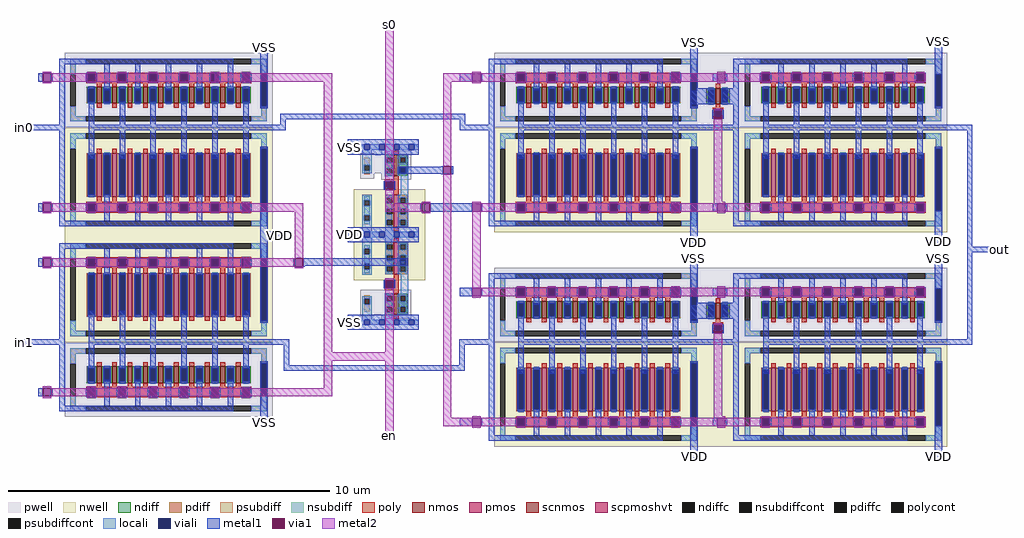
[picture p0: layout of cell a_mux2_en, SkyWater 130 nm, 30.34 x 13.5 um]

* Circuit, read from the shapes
.subckt a_mux2_en en s0 in0 in1 out VDD VSS
XM1 in1 en switch_5t_0/in VSS sky130_fd_pr__nfet_01v8 w=0.52 l=0.15 m=10
XM2 in0 en switch_5t_1/in VSS sky130_fd_pr__nfet_01v8 w=0.52 l=0.15 m=10
XM3 sky130_fd_sc_hd__inv_1_0/Y en VSS VSS sky130_fd_pr__nfet_01v8 w=0.65 l=0.15
XM4 sky130_fd_sc_hd__inv_1_1/Y s0 VSS VSS sky130_fd_pr__nfet_01v8 w=0.65 l=0.15
XM5 switch_5t_0/in s0 switch_5t_0/transmission_gate_1/in VSS sky130_fd_pr__nfet_01v8 w=0.52 l=0.15 m=10
XM6 switch_5t_1/in sky130_fd_sc_hd__inv_1_1/Y switch_5t_1/transmission_gate_1/in VSS sky130_fd_pr__nfet_01v8 w=0.52 l=0.15 m=10
XM7 switch_5t_0/transmission_gate_1/in sky130_fd_sc_hd__inv_1_1/Y VSS VSS sky130_fd_pr__nfet_01v8 w=0.5 l=0.15
XM8 switch_5t_1/transmission_gate_1/in s0 VSS VSS sky130_fd_pr__nfet_01v8 w=0.5 l=0.15
XM9 switch_5t_0/transmission_gate_1/in s0 out VSS sky130_fd_pr__nfet_01v8 w=0.52 l=0.15 m=10
XM10 switch_5t_1/transmission_gate_1/in sky130_fd_sc_hd__inv_1_1/Y out VSS sky130_fd_pr__nfet_01v8 w=0.52 l=0.15 m=10
XM11 in1 sky130_fd_sc_hd__inv_1_0/Y switch_5t_0/in VDD sky130_fd_pr__pfet_01v8 w=1.36 l=0.15 m=10
XM12 in0 sky130_fd_sc_hd__inv_1_0/Y switch_5t_1/in VDD sky130_fd_pr__pfet_01v8 w=1.36 l=0.15 m=10
XM13 sky130_fd_sc_hd__inv_1_0/Y en VDD VDD sky130_fd_pr__pfet_01v8_hvt w=1 l=0.15
XM14 sky130_fd_sc_hd__inv_1_1/Y s0 VDD VDD sky130_fd_pr__pfet_01v8_hvt w=1 l=0.15
XM15 switch_5t_0/in sky130_fd_sc_hd__inv_1_1/Y switch_5t_0/transmission_gate_1/in VDD sky130_fd_pr__pfet_01v8 w=1.36 l=0.15 m=10
XM16 switch_5t_1/in s0 switch_5t_1/transmission_gate_1/in VDD sky130_fd_pr__pfet_01v8 w=1.36 l=0.15 m=10
XM17 switch_5t_0/transmission_gate_1/in sky130_fd_sc_hd__inv_1_1/Y out VDD sky130_fd_pr__pfet_01v8 w=1.36 l=0.15 m=10
XM18 switch_5t_1/transmission_gate_1/in s0 out VDD sky130_fd_pr__pfet_01v8 w=1.36 l=0.15 m=10
.ends

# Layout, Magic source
magic
tech sky130A
magscale 1 2
<< nwell >>
rect -2386 -1234 -1092 -1157
<< pwell >>
rect -548 -815 -409 -700
rect -548 -1692 -405 -1537
<< viali >>
rect -298 -812 -264 -778
rect -381 -907 -347 -873
rect -299 -1382 -265 -1348
rect -382 -1520 -348 -1486
<< metal1 >>
rect -1168 -112 -1122 -24
rect 1503 -72 1549 8
rect 3024 -73 3070 15
rect -1046 -479 104 -445
rect -1046 -513 -1012 -479
rect -2638 -547 -2476 -513
rect -1079 -547 -1012 -513
rect 70 -547 104 -479
rect 185 -547 234 -513
rect 3140 -547 3258 -513
rect -624 -700 -522 -604
rect -43 -772 -33 -769
rect -310 -778 -33 -772
rect -310 -812 -298 -778
rect -264 -812 -33 -778
rect -310 -818 -33 -812
rect -43 -821 -33 -818
rect 19 -821 29 -769
rect -401 -917 -391 -865
rect -339 -917 -329 -865
rect -176 -1052 -166 -1000
rect -114 -1052 137 -1000
rect -1168 -1174 -1122 -1134
rect -1168 -1220 -1045 -1174
rect -1168 -1253 -1122 -1220
rect -624 -1244 -541 -1148
rect 1503 -1248 1549 -1178
rect 3024 -1246 3070 -1175
rect 3224 -1270 3258 -547
rect 3224 -1304 3429 -1270
rect -965 -1394 -955 -1342
rect -903 -1348 -253 -1342
rect -903 -1382 -299 -1348
rect -265 -1382 -253 -1348
rect -903 -1388 -253 -1382
rect -903 -1394 -893 -1388
rect 1503 -1406 1549 -1334
rect 3024 -1407 3070 -1336
rect -401 -1530 -391 -1478
rect -339 -1530 -329 -1478
rect -624 -1788 -541 -1692
rect 3224 -1847 3258 -1304
rect -2638 -1881 -2460 -1847
rect -1084 -1881 -989 -1847
rect -1023 -2007 -989 -1881
rect 69 -2007 103 -1847
rect 3149 -1881 3258 -1847
rect -1023 -2041 103 -2007
rect -1168 -2371 -1122 -2282
rect 1503 -2585 1549 -2512
rect 3024 -2580 3070 -2509
<< via1 >>
rect -33 -821 19 -769
rect -391 -873 -339 -865
rect -391 -907 -381 -873
rect -381 -907 -347 -873
rect -347 -907 -339 -873
rect -391 -917 -339 -907
rect -166 -1052 -114 -1000
rect -955 -1394 -903 -1342
rect -391 -1486 -339 -1478
rect -391 -1520 -382 -1486
rect -382 -1520 -348 -1486
rect -348 -1520 -339 -1486
rect -391 -1530 -339 -1520
<< metal2 >>
rect -1452 -244 -723 -192
rect -1312 -1052 -903 -1000
rect -955 -1342 -903 -1052
rect -1271 -1394 -955 -1342
rect -955 -1404 -903 -1394
rect -775 -1927 -723 -244
rect -391 -865 -339 115
rect -391 -1000 -339 -917
rect -33 -245 261 -193
rect -33 -769 19 -245
rect -166 -1000 -114 -990
rect -391 -1052 -166 -1000
rect -166 -1062 -114 -1052
rect -391 -1478 -339 -1468
rect -391 -1927 -339 -1530
rect -775 -1979 -339 -1927
rect -775 -2149 -723 -1979
rect -2456 -2201 -723 -2149
rect -391 -2457 -339 -1979
rect -33 -2334 19 -821
rect 149 -1052 259 -1000
rect 149 -1589 201 -1052
rect -33 -2386 206 -2334
use sky130_fd_sc_hd__inv_1  sky130_fd_sc_hd__inv_1_0 $PDKPATH/libs.ref/sky130_fd_sc_hd/mag
transform 1 0 -459 0 1 -1740
box -38 -48 314 592
use sky130_fd_sc_hd__inv_1  sky130_fd_sc_hd__inv_1_1
transform 1 0 -459 0 -1 -652
box -38 -48 314 592
use sky130_fd_sc_hd__tapvpwrvgnd_1  sky130_fd_sc_hd__tapvpwrvgnd_1_0 $PDKPATH/libs.ref/sky130_fd_sc_hd/mag
transform 1 0 -551 0 1 -1740
box -38 -48 130 592
use sky130_fd_sc_hd__tapvpwrvgnd_1  sky130_fd_sc_hd__tapvpwrvgnd_1_1
transform -1 0 -459 0 -1 -652
box -38 -48 130 592
use switch_5t  switch_5t_0
transform 1 0 123 0 -1 -1396
box -53 -36 3056 1162
use switch_5t  switch_5t_1
transform 1 0 123 0 -1 -62
box -53 -36 3056 1162
use transmission_gate  transmission_gate_0 ~/ee372/incremental_delta_sigma_adc/design/analog_modulator/layout/transmission_gate
transform 1 0 -2333 0 -1 -117
box -216 -51 1283 1063
use transmission_gate  transmission_gate_1
transform 1 0 -2333 0 1 -2277
box -216 -51 1283 1063
<< labels >>
flabel metal1 -2635 -530 -2635 -530 3 FreeSans 400 0 0 0 in0
port 3 e
flabel metal1 -2634 -1864 -2634 -1864 3 FreeSans 400 0 0 0 in1
port 4 e
flabel metal1 -1144 -2365 -1144 -2365 1 FreeSans 400 0 0 0 VSS
port 7 n power bidirectional
flabel metal1 -1051 -1198 -1051 -1198 1 FreeSans 400 0 0 0 VDD
port 6 n power bidirectional
flabel metal1 -1145 -35 -1145 -35 1 FreeSans 400 0 0 0 VSS
port 7 n power bidirectional
flabel metal2 -366 110 -366 110 5 FreeSans 400 0 0 0 s0
port 2 s
flabel metal2 -365 -2445 -365 -2445 1 FreeSans 400 0 0 0 en
port 1 n
flabel metal1 -615 -1743 -615 -1743 1 FreeSans 400 0 0 0 VSS
port 7 n power bidirectional
flabel metal1 -617 -1196 -617 -1196 1 FreeSans 400 0 0 0 VDD
port 6 n power bidirectional
flabel metal1 -616 -652 -616 -652 1 FreeSans 400 0 0 0 VSS
port 7 n power bidirectional
flabel metal1 1526 -1 1526 -1 1 FreeSans 400 0 0 0 VSS
port 7 n power bidirectional
flabel metal1 3048 4 3048 4 1 FreeSans 400 0 0 0 VSS
port 7 n power bidirectional
flabel metal1 1526 -1242 1526 -1242 1 FreeSans 400 0 0 0 VDD
port 6 n power bidirectional
flabel metal1 3048 -1239 3048 -1239 1 FreeSans 400 0 0 0 VDD
port 6 n power bidirectional
flabel metal1 3047 -1344 3047 -1344 1 FreeSans 400 0 0 0 VSS
port 7 n power bidirectional
flabel metal1 1526 -1342 1526 -1342 1 FreeSans 400 0 0 0 VSS
port 7 n power bidirectional
flabel metal1 1527 -2577 1527 -2577 1 FreeSans 400 0 0 0 VDD
port 6 n power bidirectional
flabel metal1 3048 -2574 3048 -2574 1 FreeSans 400 0 0 0 VDD
port 6 n power bidirectional
flabel metal1 3423 -1288 3423 -1288 1 FreeSans 400 0 0 0 out
port 5 n
<< end >>

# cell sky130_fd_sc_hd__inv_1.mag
magic
tech sky130A
magscale 1 2
<< nwell >>
rect -38 261 314 582
<< pwell >>
rect 42 21 228 203
rect 42 17 63 21
rect 29 -17 63 17
<< scnmos >>
rect 120 47 150 177
<< scpmoshvt >>
rect 120 297 150 497
<< ndiff >>
rect 68 165 120 177
rect 68 131 76 165
rect 110 131 120 165
rect 68 97 120 131
rect 68 63 76 97
rect 110 63 120 97
rect 68 47 120 63
rect 150 165 202 177
rect 150 131 160 165
rect 194 131 202 165
rect 150 97 202 131
rect 150 63 160 97
rect 194 63 202 97
rect 150 47 202 63
<< pdiff >>
rect 68 485 120 497
rect 68 451 76 485
rect 110 451 120 485
rect 68 417 120 451
rect 68 383 76 417
rect 110 383 120 417
rect 68 349 120 383
rect 68 315 76 349
rect 110 315 120 349
rect 68 297 120 315
rect 150 485 202 497
rect 150 451 160 485
rect 194 451 202 485
rect 150 417 202 451
rect 150 383 160 417
rect 194 383 202 417
rect 150 349 202 383
rect 150 315 160 349
rect 194 315 202 349
rect 150 297 202 315
<< ndiffc >>
rect 76 131 110 165
rect 76 63 110 97
rect 160 131 194 165
rect 160 63 194 97
<< pdiffc >>
rect 76 451 110 485
rect 76 383 110 417
rect 76 315 110 349
rect 160 451 194 485
rect 160 383 194 417
rect 160 315 194 349
<< poly >>
rect 120 497 150 523
rect 120 265 150 297
rect 64 249 150 265
rect 64 215 80 249
rect 114 215 150 249
rect 64 199 150 215
rect 120 177 150 199
rect 120 21 150 47
<< polycont >>
rect 80 215 114 249
<< locali >>
rect 0 527 29 561
rect 63 527 121 561
rect 155 527 213 561
rect 247 527 276 561
rect 68 485 110 527
rect 68 451 76 485
rect 68 417 110 451
rect 68 383 76 417
rect 68 349 110 383
rect 68 315 76 349
rect 68 299 110 315
rect 144 485 210 493
rect 144 451 160 485
rect 194 451 210 485
rect 144 417 210 451
rect 144 383 160 417
rect 194 383 210 417
rect 144 349 210 383
rect 144 315 160 349
rect 194 315 210 349
rect 144 297 210 315
rect 64 249 130 263
rect 64 215 80 249
rect 114 215 130 249
rect 64 165 110 181
rect 164 177 210 297
rect 64 131 76 165
rect 64 97 110 131
rect 64 63 76 97
rect 64 17 110 63
rect 144 165 210 177
rect 144 131 160 165
rect 194 131 210 165
rect 144 97 210 131
rect 144 63 160 97
rect 194 63 210 97
rect 144 51 210 63
rect 0 -17 29 17
rect 63 -17 121 17
rect 155 -17 213 17
rect 247 -17 276 17
<< viali >>
rect 29 527 63 561
rect 121 527 155 561
rect 213 527 247 561
rect 29 -17 63 17
rect 121 -17 155 17
rect 213 -17 247 17
<< metal1 >>
rect 0 561 276 592
rect 0 527 29 561
rect 63 527 121 561
rect 155 527 213 561
rect 247 527 276 561
rect 0 496 276 527
rect 0 17 276 48
rect 0 -17 29 17
rect 63 -17 121 17
rect 155 -17 213 17
rect 247 -17 276 17
rect 0 -48 276 -17
<< labels >>
flabel locali s 164 289 198 323 0 FreeSans 340 0 0 0 Y
port 6 nsew signal output
flabel locali s 164 221 198 255 0 FreeSans 340 0 0 0 Y
port 6 nsew signal output
flabel locali s 72 221 106 255 0 FreeSans 340 0 0 0 A
port 1 nsew signal input
flabel nwell s 29 527 63 561 0 FreeSans 200 0 0 0 VPB
port 4 nsew power bidirectional
flabel pwell s 29 -17 63 17 0 FreeSans 200 0 0 0 VNB
port 3 nsew ground bidirectional
flabel metal1 s 29 -17 63 17 0 FreeSans 200 0 0 0 VGND
port 2 nsew ground bidirectional abutment
flabel metal1 s 29 527 63 561 0 FreeSans 200 0 0 0 VPWR
port 5 nsew power bidirectional abutment
rlabel comment s 0 0 0 0 4 inv_1
rlabel metal1 s 0 -48 276 48 1 VGND
port 2 nsew ground bidirectional abutment
rlabel metal1 s 0 496 276 592 1 VPWR
port 5 nsew power bidirectional abutment
<< properties >>
string FIXED_BBOX 0 0 276 544
string GDS_END 2228044
string GDS_FILE $PDKPATH/libs.ref/sky130_fd_sc_hd/gds/sky130_fd_sc_hd.gds
string GDS_START 2224550
string LEFclass CORE
string LEFsite unithd
string LEFsymmetry X Y R90
string path 0.000 0.000 6.900 0.000 
<< end >>

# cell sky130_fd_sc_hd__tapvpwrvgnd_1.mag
magic
tech sky130A
magscale 1 2
<< nwell >>
rect -38 261 130 582
<< pwell >>
rect 3 38 89 195
<< psubdiff >>
rect 29 145 63 169
rect 29 64 63 111
<< nsubdiff >>
rect 29 456 63 480
rect 29 363 63 422
rect 29 305 63 329
<< psubdiffcont >>
rect 29 111 63 145
<< nsubdiffcont >>
rect 29 422 63 456
rect 29 329 63 363
<< locali >>
rect 0 527 29 561
rect 63 527 92 561
rect 17 456 75 527
rect 17 422 29 456
rect 63 422 75 456
rect 17 363 75 422
rect 17 329 29 363
rect 63 329 75 363
rect 17 294 75 329
rect 17 145 75 162
rect 17 111 29 145
rect 63 111 75 145
rect 17 17 75 111
rect 0 -17 29 17
rect 63 -17 92 17
<< viali >>
rect 29 527 63 561
rect 29 -17 63 17
<< metal1 >>
rect 0 561 92 592
rect 0 527 29 561
rect 63 527 92 561
rect 0 496 92 527
rect 0 17 92 48
rect 0 -17 29 17
rect 63 -17 92 17
rect 0 -48 92 -17
<< labels >>
flabel metal1 s 22 524 75 553 0 FreeSans 200 0 0 0 VPWR
port 2 nsew power bidirectional abutment
flabel metal1 s 21 -18 72 20 0 FreeSans 200 0 0 0 VGND
port 1 nsew ground bidirectional abutment
rlabel comment s 0 0 0 0 4 tapvpwrvgnd_1
rlabel metal1 s 0 -48 92 48 1 VGND
port 1 nsew ground bidirectional abutment
rlabel metal1 s 0 496 92 592 1 VPWR
port 2 nsew power bidirectional abutment
<< properties >>
string FIXED_BBOX 0 0 92 544
string GDS_END 507276
string GDS_FILE $PDKPATH/libs.ref/sky130_fd_sc_hd/gds/sky130_fd_sc_hd.gds
string GDS_START 505656
string LEFclass CORE WELLTAP
string LEFsite unithd
string LEFsymmetry X Y R90
string MASKHINTS_PSDM 0 38 92 195
string MASKHINTS_NSDM 0 279 92 506
<< end >>

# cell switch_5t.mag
magic
tech sky130A
magscale 1 2
<< nwell >>
rect 1427 468 1802 1118
<< pwell >>
rect 1430 323 1686 468
rect 1380 239 1686 323
rect 1430 4 1686 239
<< metal1 >>
rect 1380 1072 1426 1162
rect 2901 1072 2947 1159
rect -53 938 -1 990
rect -53 451 93 485
rect 1456 451 1652 485
rect 2985 451 3056 485
rect 1517 361 1527 413
rect 1579 361 1589 413
rect 1380 239 1526 323
rect 1580 239 1683 323
rect 1421 223 1526 239
rect 1603 223 1665 239
rect -53 131 -1 183
rect 1380 -36 1426 50
rect 2901 -35 2947 101
<< via1 >>
rect 1527 361 1579 413
<< metal2 >>
rect 1262 938 1726 990
rect 1527 413 1579 938
rect 1527 351 1579 361
rect 1263 131 1663 183
use sky130_fd_pr__nfet_01v8_E56BNL  sky130_fd_pr__nfet_01v8_E56BNL_0
transform 1 0 1553 0 1 312
box -73 -116 73 98
use transmission_gate  transmission_gate_0 ~/ee372/incremental_delta_sigma_adc/design/analog_modulator/layout/transmission_gate
transform 1 0 215 0 1 55
box -216 -51 1283 1063
use transmission_gate  transmission_gate_1
transform 1 0 1736 0 1 55
box -216 -51 1283 1063
<< labels >>
flabel metal1 1403 1153 1403 1153 1 FreeSans 400 0 0 0 VDD
flabel metal1 1403 -29 1403 -29 1 FreeSans 400 0 0 0 VSS
flabel metal1 -43 963 -43 963 1 FreeSans 400 0 0 0 en_b
flabel metal1 -45 157 -45 157 1 FreeSans 400 0 0 0 en
flabel metal1 -44 468 -44 468 1 FreeSans 400 0 0 0 in
flabel metal1 3051 467 3051 467 7 FreeSans 400 0 0 0 out
flabel metal1 2924 1154 2924 1154 1 FreeSans 400 0 0 0 VDD
flabel metal1 2924 -28 2924 -28 1 FreeSans 400 0 0 0 VSS
<< end >>

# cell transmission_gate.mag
magic
tech sky130A
magscale 1 2
<< viali >>
rect 1171 545 1205 931
rect 1171 81 1205 281
<< metal1 >>
rect -87 993 995 1027
rect -216 883 -189 935
rect -137 883 -127 935
rect -87 430 -53 993
rect 78 883 88 935
rect 140 883 150 935
rect 193 832 227 993
rect 271 883 281 935
rect 333 883 343 935
rect 385 832 419 993
rect 462 883 472 935
rect 524 883 534 935
rect 577 832 611 993
rect 654 883 664 935
rect 716 883 726 935
rect 769 832 803 993
rect 846 883 856 935
rect 908 883 918 935
rect 961 832 995 993
rect 1038 883 1048 935
rect 1100 883 1110 935
rect 1165 931 1211 1063
rect -216 396 -53 430
rect -216 76 -189 128
rect -137 76 -127 128
rect -87 19 -53 396
rect 97 430 131 608
rect 289 430 323 608
rect 481 430 515 608
rect 673 430 707 608
rect 865 430 899 608
rect 1057 430 1091 608
rect 1165 545 1171 931
rect 1205 545 1211 931
rect 1165 533 1211 545
rect 97 396 1283 430
rect 97 253 131 396
rect 289 253 323 396
rect 481 253 515 396
rect 673 253 707 396
rect 865 253 899 396
rect 1057 253 1091 396
rect 1165 281 1211 293
rect 78 76 88 128
rect 140 76 150 128
rect 193 19 227 180
rect 269 76 279 128
rect 331 76 341 128
rect 385 19 419 180
rect 461 76 471 128
rect 523 76 533 128
rect 577 19 611 180
rect 653 76 663 128
rect 715 76 725 128
rect 769 19 803 180
rect 846 75 856 127
rect 908 75 918 127
rect 961 19 995 180
rect 1038 75 1048 127
rect 1100 75 1110 127
rect 1165 81 1171 281
rect 1205 81 1211 281
rect -87 -15 995 19
rect 1165 -51 1211 81
<< via1 >>
rect -189 883 -137 935
rect 88 883 140 935
rect 281 883 333 935
rect 472 883 524 935
rect 664 883 716 935
rect 856 883 908 935
rect 1048 883 1100 935
rect -189 76 -137 128
rect 88 76 140 128
rect 279 76 331 128
rect 471 76 523 128
rect 663 76 715 128
rect 856 75 908 127
rect 1048 75 1100 127
<< metal2 >>
rect -189 935 -137 945
rect 88 935 140 945
rect 281 935 333 945
rect 472 935 524 945
rect 664 935 716 945
rect 856 935 908 945
rect 1048 935 1100 945
rect -137 883 88 935
rect 140 883 281 935
rect 333 883 472 935
rect 524 883 664 935
rect 716 883 856 935
rect 908 883 1048 935
rect 1100 883 1107 935
rect -189 873 -137 883
rect 88 873 140 883
rect 281 873 333 883
rect 472 873 524 883
rect 664 873 716 883
rect 856 873 908 883
rect 1048 873 1100 883
rect -189 128 -137 138
rect 88 128 140 138
rect 279 128 331 138
rect 471 128 523 138
rect 663 128 715 138
rect 856 128 908 137
rect 1048 128 1100 137
rect -137 76 88 128
rect 140 76 279 128
rect 331 76 471 128
rect 523 76 663 128
rect 715 127 1107 128
rect 715 76 856 127
rect -189 66 -137 76
rect 88 66 140 76
rect 279 66 331 76
rect 471 66 523 76
rect 663 66 715 76
rect 908 76 1048 127
rect 856 65 908 75
rect 1100 76 1107 127
rect 1048 65 1100 75
use sky130_fd_pr__nfet_01v8_6J4AMR  sky130_fd_pr__nfet_01v8_6J4AMR_0
transform 1 0 593 0 1 211
box -646 -262 648 200
use sky130_fd_pr__pfet_01v8_UNG2NQ  sky130_fd_pr__pfet_01v8_UNG2NQ_0
transform -1 0 595 0 -1 707
box -646 -356 648 294
<< labels >>
flabel metal1 -211 909 -211 909 3 FreeSans 400 0 0 0 en_b
flabel metal1 -212 413 -212 413 3 FreeSans 400 0 0 0 in
flabel metal1 -212 102 -212 102 3 FreeSans 400 0 0 0 en
flabel metal1 1279 412 1279 412 7 FreeSans 400 0 0 0 out
flabel metal1 1188 1058 1188 1058 5 FreeSans 400 0 0 0 VDD
flabel metal1 1188 -48 1188 -48 1 FreeSans 400 0 0 0 VSS
<< end >>

# cell sky130_fd_pr__nfet_01v8_6J4AMR: kit device sky130_fd_pr__nfet_01v8, w 0.53 l 0.150 m 1 nf 10 diffcov 100 polycov 100 guard 1 glc 1 grc 1 gtc 1 gbc 1 tbcov 100 rlcov 100 topc 1 botc 1 poverlap 0 doverlap 1 lmin 0.15 wmin 0.42 compatible {sky130_fd_pr__nfet_01v8 sky130_fd_pr__nfet_01v8_lvt sky130_fd_bs_flash__special_sonosfet_star sky130_fd_pr__nfet_g5v0d10v5 sky130_fd_pr__nfet_05v0_nvt sky130_fd_pr__nfet_03v3_nvt} full_metal 1 viasrc 100 viadrn 100 viagate 100 viagb 0 viagr 0 viagl 0 viagt 0

# cell sky130_fd_pr__pfet_01v8_UNG2NQ: kit device sky130_fd_pr__pfet_01v8, w 1.37 l 0.15 m 1 nf 10 diffcov 100 polycov 100 guard 1 glc 1 grc 1 gtc 1 gbc 1 tbcov 100 rlcov 100 topc 1 botc 1 poverlap 0 doverlap 1 lmin 0.15 wmin 0.42 compatible {sky130_fd_pr__pfet_01v8 sky130_fd_pr__pfet_01v8_lvt sky130_fd_pr__pfet_01v8_hvt sky130_fd_pr__pfet_g5v0d10v5} full_metal 1 viasrc 100 viadrn 100 viagate 100 viagb 0 viagr 0 viagl 0 viagt 0

# cell sky130_fd_pr__nfet_01v8_E56BNL: kit device sky130_fd_pr__nfet_01v8, w 0.420 l 0.150 m 1 nf 1 diffcov 100 polycov 100 guard 0 glc 0 grc 0 gtc 0 gbc 0 tbcov 100 rlcov 100 topc 1 botc 0 poverlap 0 doverlap 1 lmin 0.15 wmin 0.42 compatible {sky130_fd_pr__nfet_01v8 sky130_fd_pr__nfet_01v8_lvt sky130_fd_bs_flash__special_sonosfet_star sky130_fd_pr__nfet_g5v0d10v5 sky130_fd_pr__nfet_05v0_nvt sky130_fd_pr__nfet_03v3_nvt} full_metal 0 viasrc 100 viadrn 100 viagate 100 viagb 0 viagr 0 viagl 0 viagt 0
